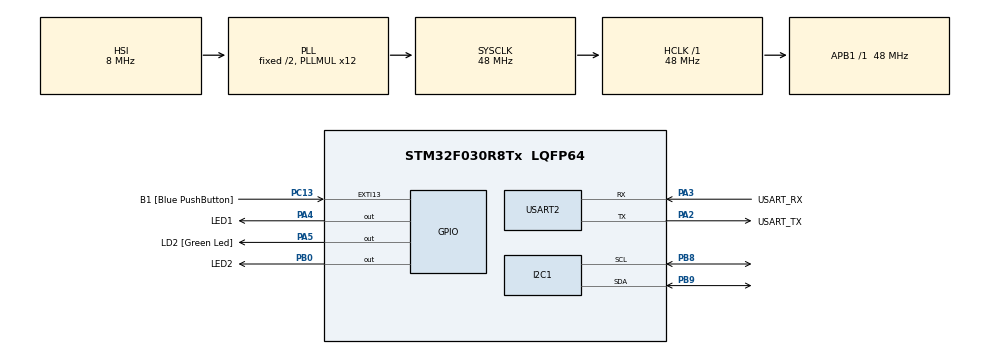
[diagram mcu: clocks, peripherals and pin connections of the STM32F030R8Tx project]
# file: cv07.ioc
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FREERTOS.Queues01=xVisualQueue,16,uint16_t,0,Dynamic,NULL,NULL
FREERTOS.Tasks01=defaultTask,0,128,StartDefaultTask,Default,NULL,Dynamic,NULL,NULL;VisualTask,0,128,StartVisualTask,Default,NULL,Dynamic,NULL,NULL;AcceleroTask,0,128,StartAcceleroTask,Default,NULL,Dynamic,NULL,NULL
FREERTOS.configUSE_NEWLIB_REENTRANT=1
Mcu.Family=STM32F0
Mcu.Name=STM32F030R8Tx
Mcu.Package=LQFP64
NVIC.TIM14_IRQn=true\:3\:0\:false\:false\:true\:false\:false\:true\:true
NVIC.TimeBase=TIM14_IRQn
NVIC.TimeBaseIP=TIM14
PA13.GPIO_Label=TMS
PA13.Mode=Serial_Wire
PA13.Signal=SYS_SWDIO
PA14.GPIO_Label=TCK
PA14.Mode=Serial_Wire
PA14.Signal=SYS_SWCLK
PA2.GPIO_Label=USART_TX
PA2.GPIO_Mode=GPIO_MODE_AF_PP
PA2.GPIO_PuPd=GPIO_NOPULL
PA2.GPIO_Speed=GPIO_SPEED_FREQ_LOW
PA2.Mode=Asynchronous
PA2.Signal=USART2_TX
PA3.GPIO_Label=USART_RX
PA3.GPIO_Mode=GPIO_MODE_AF_PP
PA3.GPIO_PuPd=GPIO_NOPULL
PA3.GPIO_Speed=GPIO_SPEED_FREQ_LOW
PA3.Mode=Asynchronous
PA3.Signal=USART2_RX
PA4.GPIO_Label=LED1
PA4.Signal=GPIO_Output
PA5.GPIO_Label=LD2 [Green Led]
PA5.GPIO_Mode=GPIO_MODE_OUTPUT_PP
PA5.GPIO_PuPd=GPIO_NOPULL
PA5.GPIO_Speed=GPIO_SPEED_FREQ_LOW
PA5.Signal=GPIO_Output
PB0.GPIO_Label=LED2
PB0.Signal=GPIO_Output
PB8.Mode=I2C
PB8.Signal=I2C1_SCL
PB9.Mode=I2C
PB9.Signal=I2C1_SDA
PC13.GPIO_Label=B1 [Blue PushButton]
PC13.GPIO_ModeDefaultEXTI=GPIO_MODE_IT_FALLING
PC13.Signal=GPXTI13
PC14-OSC32_IN.Mode=LSE-External-Oscillator
PC14-OSC32_IN.Signal=RCC_OSC32_IN
PC15-OSC32_OUT.Mode=LSE-External-Oscillator
PC15-OSC32_OUT.Signal=RCC_OSC32_OUT
PF0-OSC_IN.Mode=HSE-External-Clock-Source
PF0-OSC_IN.Signal=RCC_OSC_IN
PF1-OSC_OUT.Signal=RCC_OSC_OUT
ProjectManager.HeapSize=0x200
ProjectManager.StackSize=0x400
ProjectManager.TargetToolchain=STM32CubeIDE
RCC.AHBFreq_Value=48000000
RCC.APB1Freq_Value=48000000
RCC.APB1TimFreq_Value=48000000
RCC.HCLKFreq_Value=48000000
RCC.PLLMUL=RCC_PLL_MUL12
RCC.SYSCLKFreq_VALUE=48000000
RCC.SYSCLKSource=RCC_SYSCLKSOURCE_PLLCLK
USART2.VirtualMode-Asynchronous=VM_ASYNC
VP_FREERTOS_VS_CMSIS_V1.Mode=CMSIS_V1
VP_SYS_VS_tim14.Mode=TIM14
board=NUCLEO-F030R8

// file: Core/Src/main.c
/* USER CODE BEGIN Header */
/**
  ******************************************************************************
  * @file           : main.c
  * @brief          : Main program body
  ******************************************************************************
  * @attention
  *
  * Copyright (c) 2022 STMicroelectronics.
  * All rights reserved.
  *
  * This software is licensed under terms that can be found in the LICENSE file
  * in the root directory of this software component.
  * If no LICENSE file comes with this software, it is provided AS-IS.
  *
  ******************************************************************************
  */
/* USER CODE END Header */
#include "main.h"
#include "cmsis_os.h"

/* USER CODE BEGIN Includes */

#include "lis2dw12_reg.h"
#include <stdio.h>

/* USER CODE END Includes */

I2C_HandleTypeDef hi2c1;

UART_HandleTypeDef huart2;

osThreadId defaultTaskHandle;
osThreadId VisualTaskHandle;
osThreadId AcceleroTaskHandle;
osMessageQId xVisualQueueHandle;

void SystemClock_Config(void);
static void MX_GPIO_Init(void);
static void MX_USART2_UART_Init(void);
static void MX_I2C1_Init(void);
void StartDefaultTask(void const * argument);
void StartVisualTask(void const * argument);
void StartAcceleroTask(void const * argument);

/* USER CODE BEGIN 0 */
int _write(int file, char const *buf, int n) {
	/* stdout redirection to UART2 */
	HAL_UART_Transmit(&huart2, (uint8_t*) (buf), n, HAL_MAX_DELAY);
	return n;
}

static int32_t platform_write(void *handle, uint8_t reg, const uint8_t *bufp, uint16_t len);
static int32_t platform_read(void *handle, uint8_t reg, uint8_t *bufp, uint16_t len);
static stmdev_ctx_t lis2dw12 = {
 .write_reg = platform_write,
 .read_reg = platform_read,
 .handle = &hi2c1,
};

static int32_t platform_write(void *handle, uint8_t reg, const uint8_t *bufp, uint16_t len)
{
 HAL_I2C_Mem_Write(handle, LIS2DW12_I2C_ADD_H, reg, I2C_MEMADD_SIZE_8BIT, (uint8_t*) bufp, len, 1000);
 return 0;
}
static int32_t platform_read(void *handle, uint8_t reg, uint8_t *bufp, uint16_t len)
{
 HAL_I2C_Mem_Read(handle, LIS2DW12_I2C_ADD_H, reg, I2C_MEMADD_SIZE_8BIT, bufp, len, 1000);
 return 0;
}

/* USER CODE END 0 */

int main(void)
{

  /* MCU Configuration--------------------------------------------------------*/

  /* Reset of all peripherals, Initializes the Flash interface and the Systick. */
  HAL_Init();

  /* USER CODE BEGIN Init */

  lis2dw12_full_scale_set(&lis2dw12, LIS2DW12_2g);
  lis2dw12_power_mode_set(&lis2dw12, LIS2DW12_CONT_LOW_PWR_LOW_NOISE_2);
  lis2dw12_block_data_update_set(&lis2dw12, PROPERTY_ENABLE);
  lis2dw12_fifo_mode_set(&lis2dw12, LIS2DW12_STREAM_MODE); // enable continuous FIFO
  lis2dw12_data_rate_set(&lis2dw12, LIS2DW12_XL_ODR_25Hz); // enable part from power-down

  /* USER CODE END Init */

  /* Configure the system clock */
  SystemClock_Config();

  /* Initialize all configured peripherals */
  MX_GPIO_Init();
  MX_USART2_UART_Init();
  MX_I2C1_Init();

  /* Create the queue(s) */
  /* definition and creation of xVisualQueue */
  osMessageQDef(xVisualQueue, 16, uint16_t);
  xVisualQueueHandle = osMessageCreate(osMessageQ(xVisualQueue), NULL);

  /* Create the thread(s) */
  /* definition and creation of defaultTask */
  osThreadDef(defaultTask, StartDefaultTask, osPriorityNormal, 0, 128);
  defaultTaskHandle = osThreadCreate(osThread(defaultTask), NULL);

  /* definition and creation of VisualTask */
  osThreadDef(VisualTask, StartVisualTask, osPriorityNormal, 0, 128);
  VisualTaskHandle = osThreadCreate(osThread(VisualTask), NULL);

  /* definition and creation of AcceleroTask */
  osThreadDef(AcceleroTask, StartAcceleroTask, osPriorityNormal, 0, 128);
  AcceleroTaskHandle = osThreadCreate(osThread(AcceleroTask), NULL);

  /* Start scheduler */
  osKernelStart();

  /* We should never get here as control is now taken by the scheduler */
  /* Infinite loop */
  while (1)
  {

  }
}

void SystemClock_Config(void)
{
  RCC_OscInitTypeDef RCC_OscInitStruct = {0};
  RCC_ClkInitTypeDef RCC_ClkInitStruct = {0};
  RCC_PeriphCLKInitTypeDef PeriphClkInit = {0};

  /** Initializes the RCC Oscillators according to the specified parameters
  * in the RCC_OscInitTypeDef structure.
  */
  RCC_OscInitStruct.OscillatorType = RCC_OSCILLATORTYPE_HSI;
  RCC_OscInitStruct.HSIState = RCC_HSI_ON;
  RCC_OscInitStruct.HSICalibrationValue = RCC_HSICALIBRATION_DEFAULT;
  RCC_OscInitStruct.PLL.PLLState = RCC_PLL_ON;
  RCC_OscInitStruct.PLL.PLLSource = RCC_PLLSOURCE_HSI;
  RCC_OscInitStruct.PLL.PLLMUL = RCC_PLL_MUL12;
  RCC_OscInitStruct.PLL.PREDIV = RCC_PREDIV_DIV1;
  if (HAL_RCC_OscConfig(&RCC_OscInitStruct) != HAL_OK)
  {
    Error_Handler();
  }

  /** Initializes the CPU, AHB and APB buses clocks
  */
  RCC_ClkInitStruct.ClockType = RCC_CLOCKTYPE_HCLK|RCC_CLOCKTYPE_SYSCLK
                              |RCC_CLOCKTYPE_PCLK1;
  RCC_ClkInitStruct.SYSCLKSource = RCC_SYSCLKSOURCE_PLLCLK;
  RCC_ClkInitStruct.AHBCLKDivider = RCC_SYSCLK_DIV1;
  RCC_ClkInitStruct.APB1CLKDivider = RCC_HCLK_DIV1;

  if (HAL_RCC_ClockConfig(&RCC_ClkInitStruct, FLASH_LATENCY_1) != HAL_OK)
  {
    Error_Handler();
  }
  PeriphClkInit.PeriphClockSelection = RCC_PERIPHCLK_I2C1;
  PeriphClkInit.I2c1ClockSelection = RCC_I2C1CLKSOURCE_HSI;
  if (HAL_RCCEx_PeriphCLKConfig(&PeriphClkInit) != HAL_OK)
  {
    Error_Handler();
  }
}

static void MX_I2C1_Init(void)
{

  hi2c1.Instance = I2C1;
  hi2c1.Init.Timing = 0x2000090E;
  hi2c1.Init.OwnAddress1 = 0;
  hi2c1.Init.AddressingMode = I2C_ADDRESSINGMODE_7BIT;
  hi2c1.Init.DualAddressMode = I2C_DUALADDRESS_DISABLE;
  hi2c1.Init.OwnAddress2 = 0;
  hi2c1.Init.OwnAddress2Masks = I2C_OA2_NOMASK;
  hi2c1.Init.GeneralCallMode = I2C_GENERALCALL_DISABLE;
  hi2c1.Init.NoStretchMode = I2C_NOSTRETCH_DISABLE;
  if (HAL_I2C_Init(&hi2c1) != HAL_OK)
  {
    Error_Handler();
  }

  /** Configure Analogue filter
  */
  if (HAL_I2CEx_ConfigAnalogFilter(&hi2c1, I2C_ANALOGFILTER_ENABLE) != HAL_OK)
  {
    Error_Handler();
  }

  /** Configure Digital filter
  */
  if (HAL_I2CEx_ConfigDigitalFilter(&hi2c1, 0) != HAL_OK)
  {
    Error_Handler();
  }

}

static void MX_USART2_UART_Init(void)
{

  huart2.Instance = USART2;
  huart2.Init.BaudRate = 38400;
  huart2.Init.WordLength = UART_WORDLENGTH_8B;
  huart2.Init.StopBits = UART_STOPBITS_1;
  huart2.Init.Parity = UART_PARITY_NONE;
  huart2.Init.Mode = UART_MODE_TX_RX;
  huart2.Init.HwFlowCtl = UART_HWCONTROL_NONE;
  huart2.Init.OverSampling = UART_OVERSAMPLING_16;
  huart2.Init.OneBitSampling = UART_ONE_BIT_SAMPLE_DISABLE;
  huart2.AdvancedInit.AdvFeatureInit = UART_ADVFEATURE_NO_INIT;
  if (HAL_UART_Init(&huart2) != HAL_OK)
  {
    Error_Handler();
  }

}

static void MX_GPIO_Init(void)
{
  GPIO_InitTypeDef GPIO_InitStruct = {0};

  /* GPIO Ports Clock Enable */
  __HAL_RCC_GPIOC_CLK_ENABLE();
  __HAL_RCC_GPIOF_CLK_ENABLE();
  __HAL_RCC_GPIOA_CLK_ENABLE();
  __HAL_RCC_GPIOB_CLK_ENABLE();

  /*Configure GPIO pin Output Level */
  HAL_GPIO_WritePin(GPIOA, LED1_Pin|LD2_Pin, GPIO_PIN_RESET);

  /*Configure GPIO pin Output Level */
  HAL_GPIO_WritePin(LED2_GPIO_Port, LED2_Pin, GPIO_PIN_RESET);

  /*Configure GPIO pin : B1_Pin */
  GPIO_InitStruct.Pin = B1_Pin;
  GPIO_InitStruct.Mode = GPIO_MODE_IT_FALLING;
  GPIO_InitStruct.Pull = GPIO_NOPULL;
  HAL_GPIO_Init(B1_GPIO_Port, &GPIO_InitStruct);

  /*Configure GPIO pins : LED1_Pin LD2_Pin */
  GPIO_InitStruct.Pin = LED1_Pin|LD2_Pin;
  GPIO_InitStruct.Mode = GPIO_MODE_OUTPUT_PP;
  GPIO_InitStruct.Pull = GPIO_NOPULL;
  GPIO_InitStruct.Speed = GPIO_SPEED_FREQ_LOW;
  HAL_GPIO_Init(GPIOA, &GPIO_InitStruct);

  /*Configure GPIO pin : LED2_Pin */
  GPIO_InitStruct.Pin = LED2_Pin;
  GPIO_InitStruct.Mode = GPIO_MODE_OUTPUT_PP;
  GPIO_InitStruct.Pull = GPIO_NOPULL;
  GPIO_InitStruct.Speed = GPIO_SPEED_FREQ_LOW;
  HAL_GPIO_Init(LED2_GPIO_Port, &GPIO_InitStruct);

}

void StartDefaultTask(void const * argument)
{
  for(;;)
  {
    osDelay(1);
  }
}

void StartVisualTask(void const * argument)
{
  /* USER CODE BEGIN StartVisualTask */
  /* Infinite loop */
  for(;;)
  {
	  int16_t msg;
	    if (xQueueReceive(xVisualQueueHandle, &msg, portMAX_DELAY)) {
	  	  if (msg < -1000) {
	  		  HAL_GPIO_WritePin(LED1_GPIO_Port, LED1_Pin, 1); // led 1 on
	  		  HAL_GPIO_WritePin(LED2_GPIO_Port, LED2_Pin, 0); // led 2 off
	  	  }
	  	  else if (msg > 1000){
	  		  HAL_GPIO_WritePin(LED2_GPIO_Port, LED2_Pin, 1); // led 2 on
	  		  HAL_GPIO_WritePin(LED1_GPIO_Port, LED1_Pin, 0); // led 1 off
	  	  }
	  	  else {
	  		  HAL_GPIO_WritePin(LED1_GPIO_Port, LED1_Pin, 0); // led 1 off
	  		  HAL_GPIO_WritePin(LED2_GPIO_Port, LED2_Pin, 0); // led 2 off
	  	  }
	    }

    osDelay(1);
  }
  /* USER CODE END StartVisualTask */
}

void StartAcceleroTask(void const * argument)
{
  /* USER CODE BEGIN StartAcceleroTask */

	// Check device ID
	uint8_t whoamI = 0;
	lis2dw12_device_id_get(&lis2dw12, &whoamI);
	printf("LIS2DW12_ID %s\n", (whoamI == LIS2DW12_ID) ? "OK" : "FAIL");

  /* Infinite loop */
  for(;;)
  {
	  uint8_t samples;
	  int16_t raw_acceleration[3];
	  uint8_t i;

	  lis2dw12_fifo_data_level_get(&lis2dw12, &samples);

	  for (uint8_t i = 0; i < samples; i++) {
	   // Read acceleration data
	   lis2dw12_acceleration_raw_get(&lis2dw12, raw_acceleration);
	  }

	  if(i==20){
		  printf("X=%d Y=%d Z=%d\n", raw_acceleration[0], raw_acceleration[1], raw_acceleration[2]);
		  i=0;
	  }
	  xQueueSend(xVisualQueueHandle, &raw_acceleration, 0);
	  osDelay(50);

	  i++;
  }

  /* USER CODE END StartAcceleroTask */
}

void HAL_TIM_PeriodElapsedCallback(TIM_HandleTypeDef *htim)
{
  if (htim->Instance == TIM14) {
    HAL_IncTick();
  }
}

void Error_Handler(void)
{
  __disable_irq();
  while (1)
  {
  }
}
